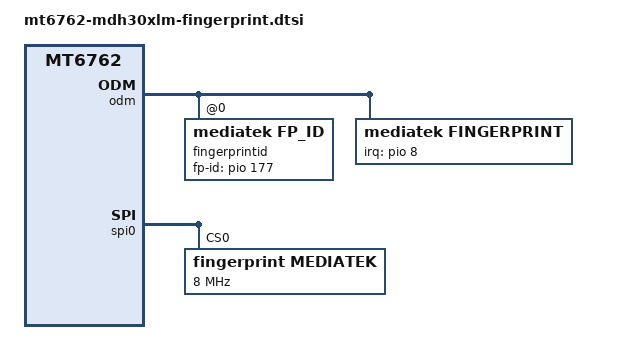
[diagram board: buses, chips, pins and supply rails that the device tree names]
/*
 * LG Electronics MT6765 HDK fingerprint device tree source
 *
 * Copyright (c) 2018 LG Electronics Co., Ltd.
 *              http://www.lge.com
 *
 */

/* FINGERPRINT start */
&goodix_fp {
	status = "disabled";
};

&odm {
	fingerprintid: fingerprintid@0 {
		compatible = "mediatek,fp_id";
		fp-id-gpios = <&pio 177 0>;
	};

	fingerprint:fingerprint {
		compatible = "mediatek,fingerprint";
		debounce = <8 0>;
		interrupt-parent = <&pio>;
		interrupts = <8 IRQ_TYPE_EDGE_RISING 8 0>;
		pinctrl-names =
			"fingerprint_default",
			"fingerprint_irq",
			"fingerprint_rst_low",
			"fingerprint_rst_high"
			;

		pinctrl-0 = <&fingerprint_pctl_default>;
		pinctrl-1 = <&fingerprint_pctl_irq>;
		pinctrl-2 = <&fingerprint_pctl_rst_low>;
		pinctrl-3 = <&fingerprint_pctl_rst_high>;
	};
};

&spi0 {
	#address-cells = <1>;
	#size-cells = <0>;
	fingerprint@0 {
		status = "okay";
		compatible = "fingerprint,mediatek";
		reg = <0>;
		spi-bus-num = <0>;
		spi-max-frequency = <8000000>;

		vdd_ldo_enable = <0>;
		vio_ldo_enable = <0>;
		config_spi_pin = <0>;
	};
};

&pio {
	fingerprint_pctl_default:fingerprint_default1 {

	};

	fingerprint_pctl_irq:fingerprint_pin_irq {
		pins_cmd_dat {
			pinmux = <PINMUX_GPIO8__FUNC_GPIO8>;
			slew-rate = <0>;
			bias-pull-down;
		};
	};

	fingerprint_pctl_rst_low:fingerprint_pin_rst_low {
		pins_cmd_dat {
			pinmux = <PINMUX_GPIO170__FUNC_GPIO170>;
			slew-rate = <1>;
			bias-disable;
			output-low;
		};
	};

	fingerprint_pctl_rst_high:fingerprint_pin_rst_high {
		pins_cmd_dat {
			pinmux = <PINMUX_GPIO170__FUNC_GPIO170>;
			slew-rate = <1>;
			bias-disable;
			output-high;
		};
	};
};

&mt6370_pmu {
	ldo {
		mt6370_ldo {
			regulator-min-microvolt = <2800000>;
			regulator-max-microvolt = <2800000>;
			regulator-always-on;
		};
	};
};
/* FINGERPRINT end */
